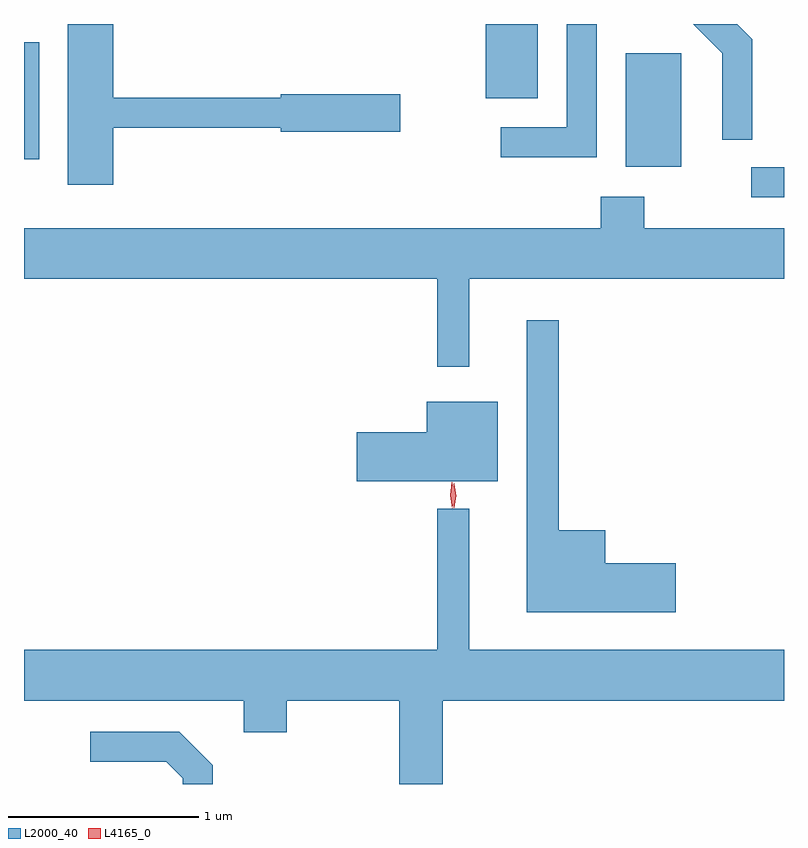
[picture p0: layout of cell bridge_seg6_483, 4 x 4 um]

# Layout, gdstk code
import gdstk
lib = gdstk.Library(unit=1e-6, precision=1e-09)
def R(c, l, rs):  # rectangles x0, y0, x1, y1
    for r in rs: c.add(gdstk.rectangle(r[:2], r[2:], *l))
def P(c, l, *ps):  # polygons
    for p in ps: c.add(gdstk.Polygon(p, *l))
L2000_40 = (2000, 40)
L4165_0 = (4165, 0)

bridge_seg6_483 = lib.new_cell('bridge_seg6_483')
R(bridge_seg6_483, L2000_40, [(993.633,1592.646,993.805,1592.804), (992.971,1592.806,993.264,1593.404), (989.805,1592.846,989.884,1593.463), (992.236,1593.166,992.509,1593.558)])
P(bridge_seg6_483, L2000_40, [(992.819,1593.558),(992.661,1593.558),(992.661,1593.014),(992.313,1593.014),(992.313,1592.856),(992.819,1592.856)],
  [(993.639,1593.477),(993.558,1593.558),(993.327,1593.558),(993.481,1593.404),(993.481,1592.948),(993.639,1592.948)],
  [(990.274,1593.011),(991.156,1593.011),(991.156,1592.991),(991.784,1592.991),(991.784,1593.189),(991.156,1593.189),(991.156,1593.169),(990.274,1593.169),(990.274,1593.558),(990.036,1593.558),(990.036,1592.711),(990.274,1592.711)],
  [(992.149,1592.216),(993.805,1592.216),(993.805,1592.484),(993.069,1592.484),(993.069,1592.649),(992.841,1592.649),(992.841,1592.484),(989.805,1592.484),(989.805,1592.216),(991.981,1592.216),(991.981,1591.753),(992.149,1591.753)],
  [(993.234,1590.719),(992.864,1590.719),(992.864,1590.894),(992.619,1590.894),(992.619,1591.998),(992.451,1591.998),(992.451,1590.461),(993.234,1590.461)],
  [(992.299,1591.569),(991.926,1591.569),(991.926,1591.409),(991.556,1591.409),(991.556,1591.151),(992.299,1591.151)],
  [(992.009,1589.996),(993.805,1589.996),(993.805,1590.264),(992.149,1590.264),(992.149,1591.008),(991.981,1591.008),(991.981,1590.264),(989.805,1590.264),(989.805,1589.996),(990.961,1589.996),(990.961,1589.831),(991.189,1589.831),(991.189,1589.996),(991.781,1589.996),(991.781,1589.558),(992.009,1589.558)],
  [(990.799,1589.657),(990.622,1589.834),(990.153,1589.834),(990.153,1589.676),(990.554,1589.676),(990.641,1589.589),(990.641,1589.558),(990.799,1589.558)])
P(bridge_seg6_483, L4165_0, [(992.068,1591.013),(992.059,1591.076),(992.068,1591.139),(992.069,1591.14),(992.07,1591.139),(992.079,1591.076),(992.07,1591.013),(992.069,1591.013)],
  [(992.058,1591.01),(992.048,1591.078),(992.057,1591.146),(992.057,1591.146),(992.058,1591.146),(992.068,1591.078),(992.059,1591.01),(992.059,1591.01)])

lib.write_gds('bridge_seg6_483.gds')
